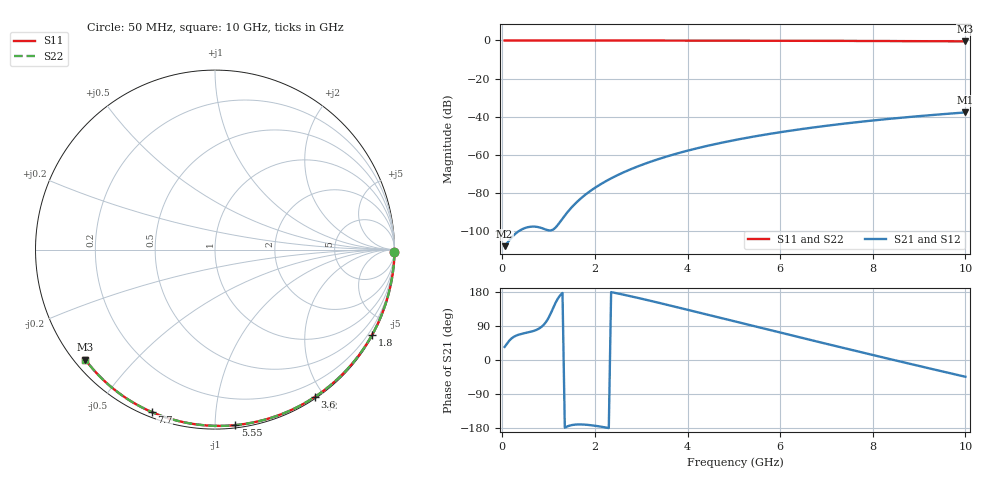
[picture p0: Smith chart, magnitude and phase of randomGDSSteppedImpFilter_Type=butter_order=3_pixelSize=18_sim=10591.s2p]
! freq	dB(S11)	phase(S11)	dB(S12)	phase(S12)
!  dB(S21)	phase(S21)	dB(S22)	phase(S22)
!S-par simulation data
#  GHz  S  DB  R 50
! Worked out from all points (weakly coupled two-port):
!   200 points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, 50 MHz to 10 GHz, reference 50 ohm
!   highest |S21| = -37.75 dB at 10 GHz (marker M1); lowest = -107.9 dB at 50 MHz (marker M2)
!   lowest |S11| = -0.5 dB at 10 GHz (marker M3), VSWR 37.03, Z = 1.53 - j18.3 ohm
!   |S11| at or under -10 dB: nowhere
!   |S22| runs from -0.5 to 0.0 dB; largest |S21 - S12| = 0
!   S11 on the Smith chart (normalised r, x): 50 MHz: open; 1.8 GHz: 0.03, -3.92; 3.6 GHz: 0.02, -1.88; 5.55 GHz: 0.02, -1.12; 7.7 GHz: 0.02, -0.68; 10 GHz: 0.03, -0.37
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0.05  -0.00 -0.8  -107.89 34.5  -107.89 34.5  -0.00 -0.8
0.45  -0.01 -7.3  -98.77 70.0  -98.77 70.0  -0.01 -7.3
0.9  -0.02 -14.5  -98.82 93.6  -98.82 93.6  -0.02 -14.5
1.75  -0.04 -27.8  -81.74 -170.3  -81.74 -170.3  -0.04 -27.8
1.8  -0.04 -28.6  -80.77 -170.7  -80.77 -170.7  -0.04 -28.6
1.85  -0.04 -29.4  -79.84 -171.2  -79.84 -171.2  -0.04 -29.4
2  -0.04 -31.7  -77.29 -173.5  -77.29 -173.5  -0.04 -31.7
2.15  -0.04 -34.1  -75.02 -176.4  -75.02 -176.4  -0.04 -34.1
2.35  -0.05 -37.1  -72.32 179.1  -72.32 179.1  -0.05 -37.1
2.55  -0.05 -40.2  -69.93 174.2  -69.93 174.2  -0.05 -40.2
2.95  -0.06 -46.3  -65.83 163.3  -65.83 163.3  -0.06 -46.3
3.4  -0.07 -53.0  -62.00 150.4  -62.00 150.4  -0.07 -53.0
3.6  -0.08 -55.9  -60.50 144.5  -60.50 144.5  -0.08 -55.9
4.3  -0.09 -66.0  -56.00 123.5  -56.00 123.5  -0.09 -66.0
5.05  -0.12 -76.6  -52.10 100.9  -52.10 100.9  -0.12 -76.6
5.55  -0.14 -83.4  -49.90 85.9  -49.90 85.9  -0.14 -83.4
6.1  -0.16 -90.8  -47.75 69.4  -47.75 69.4  -0.16 -90.8
6.7  -0.19 -98.6  -45.69 51.5  -45.69 51.5  -0.19 -98.6
7.7  -0.25 -111.4  -42.75 22.0  -42.75 22.0  -0.25 -111.4
8.35  -0.30 -119.5  -41.13 3.0  -41.13 3.0  -0.30 -119.5
9.2  -0.38 -129.9  -39.27 -21.5  -39.27 -21.5  -0.38 -129.9
10  -0.47 -139.7  -37.75 -44.2  -37.75 -44.2  -0.47 -139.7
